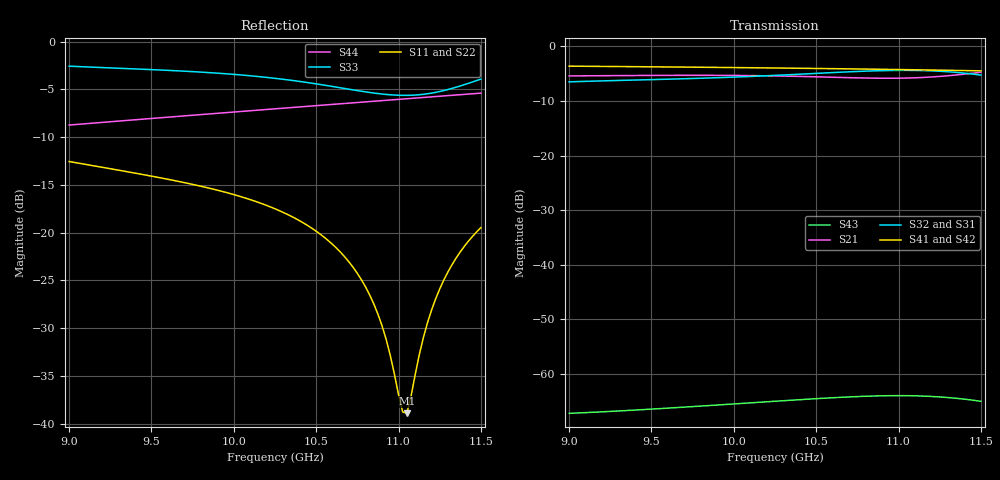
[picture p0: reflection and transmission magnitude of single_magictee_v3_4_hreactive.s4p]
! Touchstone file exported from HFSS 2025.2.4
!  File:  //wsl.localhost/Ubuntu/tmp/hfss-r11/hfss/output_v3_4_jacobian/h_terminal_ridge_w_plus/single_magictee_v3_4_hreactive.aedt
!  Generated:  03:06:39 PM Sep 22, 2026
!  Design:  SingleMagicT_v3_4_HReactiveCell
!  Project:  single_magictee_v3_4_hreactive
! Variables:
!  f_adapt = 10.2GHz
!  h_cap_height = 9mm
!  h_cap_len = 2.5mm
!  h_terminal_ridge_w = 5.072mm
!  h_throat_a = 20.4mm
!  h_throat_len = 5.5mm
!  ridge_g1 = 7.672mm
!  ridge_g2 = 5.8mm
!  ridge_l1 = 9.872mm
!  ridge_l2 = 8.857mm
!  ridge_w = 4.572mm
!  terminal_ridge_len = 7.5mm
!  wg_a = 22.86mm
!  wg_b = 10.16mm
!Data is not renormalized
# GHz S MA
! Terminal data exported
! Port[1] = P1_CollinearMinusX
! Port[2] = P2_CollinearPlusX
! Port[3] = P3_HArm_Ridged
! Port[4] = P4_EArm
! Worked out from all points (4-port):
!   101 points, 9 GHz to 11.5 GHz, reference per port
!   strongest paths, dB at 9 GHz, 9.625 GHz, 10.25 GHz, 10.88 GHz, 11.5 GHz:
!     S41: -3.6, -3.8, -4.0, -4.2, -4.5
!     S42: -3.6, -3.8, -4.0, -4.2, -4.5
!     S32: -6.5, -6.0, -5.3, -4.5, -5.3
!     S31: -6.5, -6.0, -5.3, -4.5, -5.3
!     S21: -5.4, -5.3, -5.4, -5.8, -4.7
!     S43: -67.2, -66.2, -65.0, -64.0, -65.0
!   lowest |S11| = -38.9 dB at 11.05 GHz (marker M1), VSWR 1.02
!   |S11| at or under -10 dB: start of sweep to end of sweep
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9  0.2357 150.8  0.5362 -175.1  0.4727 62.3  0.6584 46.1
   0.5362 -175.1  0.2366 150.6  0.4731 62.2  0.6578 -134.1
   0.4727 62.3  0.4731 62.2  0.7434 129.9  0.0004364 36.0
   0.6584 46.1  0.6578 -134.1  0.0004364 36.0  0.3658 -114.2
9.325  0.2105 114.3  0.5399 148.7  0.4879 17.6  0.6528 8.8
       0.5399 148.7  0.2113 114.0  0.4882 17.6  0.6523 -171.3
       0.4879 17.6  0.4882 17.6  0.7236 76.0  0.0004606 -5.4
       0.6528 8.8  0.6523 -171.3  0.0004606 -5.4  0.3851 -149.2
9.7  0.1828 72.4  0.5429 108.0  0.5049 -32.9  0.6456 -32.8
     0.5429 108.0  0.1835 72.1  0.5052 -32.9  0.6452 147.1
     0.5049 -32.9  0.5052 -32.9  0.6998 14.9  0.0004975 -54.1
     0.6456 -32.8  0.6452 147.1  0.0004975 -54.1  0.4085 171.2
10.3  0.1277 3.1  0.5342 45.3  0.5463 -113.5  0.6323 -97.1
      0.5342 45.3  0.1284 2.7  0.5466 -113.6  0.632 82.7
      0.5463 -113.5  0.5466 -113.6  0.6346 -84.6  0.000569 -135.3
      0.6323 -97.1  0.632 82.7  0.000569 -135.3  0.4481 109.2
10.725  0.06576 -47.4  0.5156 4.5  0.5864 -173.7  0.6212 -141.6
        0.5156 4.5  0.06652 -48.2  0.5867 -173.7  0.6209 38.3
        0.5864 -173.7  0.5867 -173.7  0.5585 -166.5  0.0006188 162.5
        0.6212 -141.6  0.6209 38.3  0.0006188 162.5  0.4781 65.9
11.05  0.01135 -1.2  0.5126 -23.0  0.6025 136.6  0.6116 -175.2
       0.5126 -23.0  0.01079 -5.9  0.6028 136.6  0.6113 4.7
       0.6025 136.6  0.6028 136.6  0.5231 115.8  0.0006328 110.9
       0.6116 -175.2  0.6113 4.7  0.0006328 110.9  0.5022 33.0
11.5  0.1063 1.7  0.5792 -60.1  0.5454 63.5  0.5965 138.8
      0.5792 -60.1  0.1054 1.5  0.5457 63.4  0.5963 -41.4
      0.5454 63.5  0.5457 63.4  0.6362 -1.4  0.0005623 35.5
      0.5965 138.8  0.5963 -41.4  0.0005623 35.5  0.5373 -12.5
